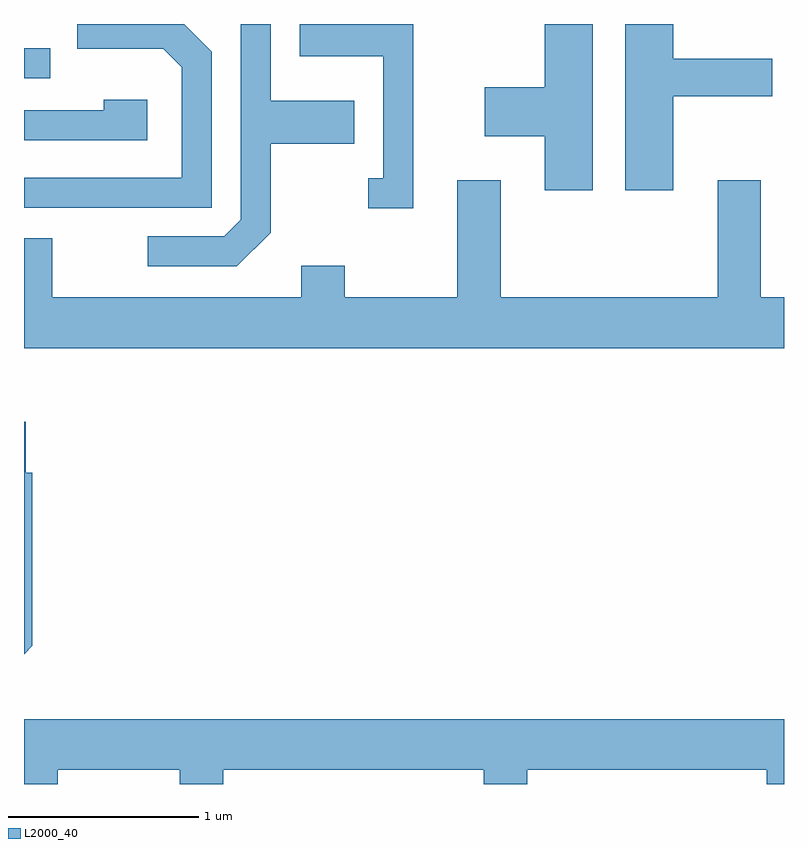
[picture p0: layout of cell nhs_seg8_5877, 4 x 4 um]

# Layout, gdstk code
import gdstk
lib = gdstk.Library(unit=1e-6, precision=1e-09)
def R(c, l, rs):  # rectangles x0, y0, x1, y1
    for r in rs: c.add(gdstk.rectangle(r[:2], r[2:], *l))
def P(c, l, *ps):  # polygons
    for p in ps: c.add(gdstk.Polygon(p, *l))
L2000_40 = (2000, 40)

nhs_seg8_5877 = lib.new_cell('nhs_seg8_5877')
R(nhs_seg8_5877, L2000_40, [(361.611,1840.056,361.748,1840.214)])
P(nhs_seg8_5877, L2000_40, [(364.604,1840.342),(364.351,1840.342),(364.351,1840.009),(364.036,1840.009),(364.036,1839.751),(364.351,1839.751),(364.351,1839.466),(364.604,1839.466)],
  [(362.909,1839.244),(362.909,1839.711),(363.349,1839.711),(363.349,1839.939),(362.909,1839.939),(362.909,1840.342),(362.751,1840.342),(362.751,1839.312),(362.664,1839.224),(362.263,1839.224),(362.263,1839.066),(362.732,1839.066)],
  [(363.659,1840.342),(363.061,1840.342),(363.061,1840.171),(363.501,1840.171),(363.501,1839.529),(363.423,1839.529),(363.423,1839.371),(363.659,1839.371)],
  [(365.029,1839.961),(365.549,1839.961),(365.549,1840.159),(365.029,1840.159),(365.029,1840.342),(364.776,1840.342),(364.776,1839.466),(365.029,1839.466)],
  [(362.599,1840.197),(362.454,1840.342),(361.891,1840.342),(361.891,1840.211),(362.344,1840.211),(362.441,1840.114),(362.441,1839.534),(361.611,1839.534),(361.611,1839.376),(362.599,1839.376)],
  [(362.259,1839.944),(362.031,1839.944),(362.031,1839.889),(361.611,1839.889),(361.611,1839.731),(362.259,1839.731)],
  [(361.611,1839.214),(361.611,1838.636),(365.611,1838.636),(365.611,1838.904),(365.489,1838.904),(365.489,1839.519),(365.261,1839.519),(365.261,1838.904),(364.119,1838.904),(364.119,1839.519),(363.891,1839.519),(363.891,1838.904),(363.299,1838.904),(363.299,1839.069),(363.071,1839.069),(363.071,1838.904),(361.759,1838.904),(361.759,1839.214)],
  [(361.654,1837.069),(361.654,1837.979),(361.619,1837.979),(361.619,1838.249),(361.611,1838.249),(361.611,1837.026)],
  [(361.789,1836.416),(362.431,1836.416),(362.431,1836.342),(362.659,1836.342),(362.659,1836.416),(364.031,1836.416),(364.031,1836.342),(364.259,1836.342),(364.259,1836.416),(365.521,1836.416),(365.521,1836.342),(365.611,1836.342),(365.611,1836.684),(361.611,1836.684),(361.611,1836.342),(361.789,1836.342)])

lib.write_gds('nhs_seg8_5877.gds')
